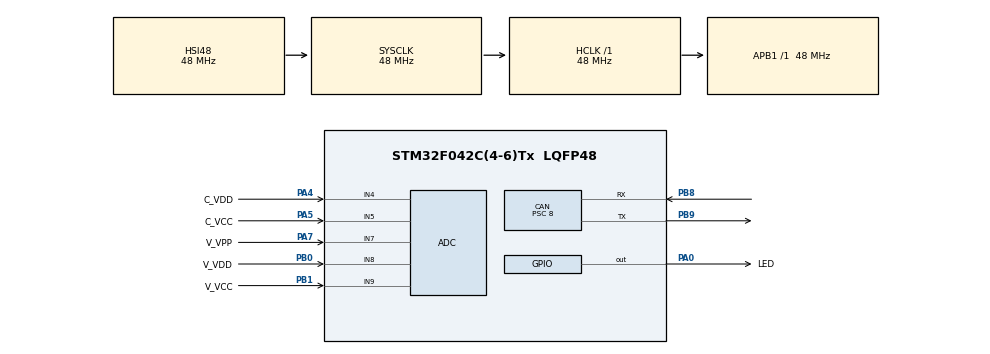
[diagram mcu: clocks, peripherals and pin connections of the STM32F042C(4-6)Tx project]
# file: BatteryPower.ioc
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ADC.ClockPrescaler=ADC_CLOCK_ASYNC_DIV1
ADC.ContinuousConvMode=ENABLE
ADC.DMAContinuousRequests=ENABLE
ADC.SamplingTime=ADC_SAMPLETIME_1CYCLE_5
CAN.BS1=CAN_BS1_4TQ
CAN.CalculateBaudRate=1000000
CAN.CalculateTimeBit=1000
CAN.CalculateTimeQuantum=166.66666666666666
CAN.Prescaler=8
Dma.ADC.0.Direction=DMA_PERIPH_TO_MEMORY
Dma.ADC.0.Instance=DMA1_Channel1
Dma.ADC.0.MemDataAlignment=DMA_MDATAALIGN_HALFWORD
Dma.ADC.0.MemInc=DMA_MINC_ENABLE
Dma.ADC.0.Mode=DMA_CIRCULAR
Dma.ADC.0.PeriphDataAlignment=DMA_PDATAALIGN_HALFWORD
Dma.ADC.0.PeriphInc=DMA_PINC_DISABLE
Dma.ADC.0.Priority=DMA_PRIORITY_LOW
Dma.Request0=ADC
IWDG.Prescaler=IWDG_PRESCALER_16
IWDG.Reload=4095
IWDG.Window=4095
Mcu.Family=STM32F0
Mcu.Name=STM32F042C(4-6)Tx
Mcu.Package=LQFP48
NVIC.CEC_CAN_IRQn=true\:1\:0\:true\:false\:true\:true\:true\:true
NVIC.DMA1_Channel1_IRQn=true\:1\:0\:true\:false\:true\:false\:true\:true
NVIC.TIM14_IRQn=true\:3\:0\:true\:false\:true\:true\:true\:true
NVIC.TIM2_IRQn=true\:3\:0\:true\:false\:true\:true\:true\:true
PA0.GPIO_Label=LED
PA0.Signal=GPIO_Output
PA4.GPIO_Label=C_VDD
PA4.Mode=IN4
PA4.Signal=ADC_IN4
PA5.GPIO_Label=C_VCC
PA5.Mode=IN5
PA5.Signal=ADC_IN5
PA7.GPIO_Label=V_VPP
PA7.Mode=IN7
PA7.Signal=ADC_IN7
PB0.GPIO_Label=V_VDD
PB0.Mode=IN8
PB0.Signal=ADC_IN8
PB1.GPIO_Label=V_VCC
PB1.Mode=IN9
PB1.Signal=ADC_IN9
PB8.Mode=CAN_Activate
PB8.Signal=CAN_RX
PB9.Mode=CAN_Activate
PB9.Signal=CAN_TX
ProjectManager.HeapSize=0x200
ProjectManager.StackSize=0x400
ProjectManager.TargetToolchain=STM32CubeIDE
RCC.AHBFreq_Value=48000000
RCC.APB1Freq_Value=48000000
RCC.APB1TimFreq_Value=48000000
RCC.HCLKFreq_Value=48000000
RCC.SYSCLKFreq_VALUE=48000000
RCC.SYSCLKSource=RCC_SYSCLKSOURCE_HSI48
TIM14.Period=1000
TIM14.Prescaler=48000-1
TIM2.Period=100
TIM2.Prescaler=48000-1
VP_IWDG_VS_IWDG.Mode=IWDG_Activate
VP_TIM14_VS_ClockSourceINT.Mode=Enable_Timer
VP_TIM2_VS_ClockSourceINT.Mode=Internal
board=custom

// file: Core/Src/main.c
/* USER CODE BEGIN Header */
/**
  ******************************************************************************
  * @file           : main.c
  * @brief          : Main program body
  ******************************************************************************
  * @attention
  *
  * <h2><center>&copy; Copyright (c) 2020 STMicroelectronics.
  * All rights reserved.</center></h2>
  *
  * This software component is licensed by ST under BSD 3-Clause license,
  * the "License"; You may not use this file except in compliance with the
  * License. You may obtain a copy of the License at:
  *                        opensource.org/licenses/BSD-3-Clause
  *
  ******************************************************************************
  */
/* USER CODE END Header */
#include "main.h"

/* USER CODE BEGIN Includes */

#include <stdlib.h>

/* USER CODE END Includes */

/* USER CODE BEGIN PD */

#define SAMPLE_FREQ 10
#define SEND_FREQ 1

#define CURRENT_FILTER_A 0.5
#define VDD_CURRENT_OFFSET 0.4
#define VCC_CURRENT_OFFSET 0.0
#define VPP_FIX (8.08 / 8.20)
#define VCC_FIX (5.02 / 4.69)
#define VDD_FIX (3.35 / 3.19)

/* USER CODE END PD */

 ADC_HandleTypeDef hadc;
DMA_HandleTypeDef hdma_adc;

CAN_HandleTypeDef hcan;

IWDG_HandleTypeDef hiwdg;

TIM_HandleTypeDef htim2;
TIM_HandleTypeDef htim14;

void SystemClock_Config(void);
static void MX_GPIO_Init(void);
static void MX_CAN_Init(void);
static void MX_DMA_Init(void);
static void MX_IWDG_Init(void);
static void MX_ADC_Init(void);
static void MX_TIM2_Init(void);
static void MX_TIM14_Init(void);

/* USER CODE BEGIN 0 */
extern void initialise_monitor_handles(void);

uint16_t adc_values[10];

float vcc_A;
float vdd_A;
float vpp_V;
float vcc_V;
float vdd_V;

void HAL_TIM_PeriodElapsedCallback(TIM_HandleTypeDef *htim)
{
    if (htim == &htim2) {
    	float voltages[5];
    	for (int i = 0; i < 5; i++) {
    		voltages[i] = (float)adc_values[i] * 3.3 / 4095;
    	}

    	float vdd_A_ = (voltages[0] - 3.3 / 2.0) / 0.110 - VDD_CURRENT_OFFSET;
    	float vcc_A_ = (voltages[1] - 3.3 / 2.0) / 0.110 - VCC_CURRENT_OFFSET;
    	vpp_V = voltages[2] * 11.0 * VPP_FIX;
    	vdd_V = voltages[3] * 2.0 * VDD_FIX;
    	vcc_V = voltages[4] * 2.0 * VCC_FIX;

    	vcc_A = vcc_A * (1 - CURRENT_FILTER_A) + vcc_A_ * CURRENT_FILTER_A;
    	vdd_A = vdd_A * (1 - CURRENT_FILTER_A) + vdd_A_ * CURRENT_FILTER_A;

    }
    else if (htim == &htim14) {
#ifdef DEBUG
		printf("Vpp: %d.%03d V\n", (int)vpp_V, abs((int)(vpp_V * 1000) % 1000));
		printf("Vcc: %d.%03d V, %d mA\n", (int)vcc_V, abs((int)(vcc_V * 1000) % 1000), (int)(vcc_A * 1000));
		printf("Vdd: %d.%03d V, %d mA\n", (int)vdd_V, abs((int)(vdd_V * 1000) % 1000), (int)(vdd_A * 1000));
#endif
		HAL_GPIO_TogglePin(LED_GPIO_Port, LED_Pin);
    }
}
/* USER CODE END 0 */

int main(void)
{
  /* USER CODE BEGIN 1 */
#ifdef DEBUG
  initialise_monitor_handles();
#endif
  /* USER CODE END 1 */

  /* MCU Configuration--------------------------------------------------------*/

  /* Reset of all peripherals, Initializes the Flash interface and the Systick. */
  HAL_Init();

  /* Configure the system clock */
  SystemClock_Config();

  /* Initialize all configured peripherals */
  MX_GPIO_Init();
  MX_CAN_Init();
  MX_DMA_Init();
  MX_IWDG_Init();
  MX_ADC_Init();
  MX_TIM2_Init();
  MX_TIM14_Init();
  /* USER CODE BEGIN 2 */

  HAL_GPIO_WritePin(LED_GPIO_Port, LED_Pin, GPIO_PIN_RESET);

  HAL_ADCEx_Calibration_Start(&hadc);
  HAL_ADC_Start_DMA(&hadc, (uint32_t*)adc_values, 10);

  HAL_TIM_Base_Start_IT(&htim2);
  HAL_TIM_Base_Start_IT(&htim14);

  HAL_Delay(200);

  HAL_GPIO_WritePin(LED_GPIO_Port, LED_Pin, GPIO_PIN_SET);

  /* USER CODE END 2 */

  /* Infinite loop */
  while (1)
  {

    /* USER CODE BEGIN 3 */

	  HAL_Delay(1000);

#ifndef DEBUG
	  HAL_IWDG_Refresh(&hiwdg);
#endif
  }
  /* USER CODE END 3 */
}

void SystemClock_Config(void)
{
  RCC_OscInitTypeDef RCC_OscInitStruct = {0};
  RCC_ClkInitTypeDef RCC_ClkInitStruct = {0};

  /** Initializes the RCC Oscillators according to the specified parameters
  * in the RCC_OscInitTypeDef structure.
  */
  RCC_OscInitStruct.OscillatorType = RCC_OSCILLATORTYPE_HSI14|RCC_OSCILLATORTYPE_HSI48
                              |RCC_OSCILLATORTYPE_LSI;
  RCC_OscInitStruct.HSI48State = RCC_HSI48_ON;
  RCC_OscInitStruct.HSI14State = RCC_HSI14_ON;
  RCC_OscInitStruct.HSI14CalibrationValue = 16;
  RCC_OscInitStruct.LSIState = RCC_LSI_ON;
  RCC_OscInitStruct.PLL.PLLState = RCC_PLL_NONE;
  if (HAL_RCC_OscConfig(&RCC_OscInitStruct) != HAL_OK)
  {
    Error_Handler();
  }

  /** Initializes the CPU, AHB and APB buses clocks
  */
  RCC_ClkInitStruct.ClockType = RCC_CLOCKTYPE_HCLK|RCC_CLOCKTYPE_SYSCLK
                              |RCC_CLOCKTYPE_PCLK1;
  RCC_ClkInitStruct.SYSCLKSource = RCC_SYSCLKSOURCE_HSI48;
  RCC_ClkInitStruct.AHBCLKDivider = RCC_SYSCLK_DIV1;
  RCC_ClkInitStruct.APB1CLKDivider = RCC_HCLK_DIV1;

  if (HAL_RCC_ClockConfig(&RCC_ClkInitStruct, FLASH_LATENCY_1) != HAL_OK)
  {
    Error_Handler();
  }
}

static void MX_ADC_Init(void)
{

  ADC_ChannelConfTypeDef sConfig = {0};

  /** Configure the global features of the ADC (Clock, Resolution, Data Alignment and number of conversion)
  */
  hadc.Instance = ADC1;
  hadc.Init.ClockPrescaler = ADC_CLOCK_ASYNC_DIV1;
  hadc.Init.Resolution = ADC_RESOLUTION_12B;
  hadc.Init.DataAlign = ADC_DATAALIGN_RIGHT;
  hadc.Init.ScanConvMode = ADC_SCAN_DIRECTION_FORWARD;
  hadc.Init.EOCSelection = ADC_EOC_SINGLE_CONV;
  hadc.Init.LowPowerAutoWait = DISABLE;
  hadc.Init.LowPowerAutoPowerOff = DISABLE;
  hadc.Init.ContinuousConvMode = ENABLE;
  hadc.Init.DiscontinuousConvMode = DISABLE;
  hadc.Init.ExternalTrigConv = ADC_SOFTWARE_START;
  hadc.Init.ExternalTrigConvEdge = ADC_EXTERNALTRIGCONVEDGE_NONE;
  hadc.Init.DMAContinuousRequests = ENABLE;
  hadc.Init.Overrun = ADC_OVR_DATA_PRESERVED;
  if (HAL_ADC_Init(&hadc) != HAL_OK)
  {
    Error_Handler();
  }

  /** Configure for the selected ADC regular channel to be converted.
  */
  sConfig.Channel = ADC_CHANNEL_4;
  sConfig.Rank = ADC_RANK_CHANNEL_NUMBER;
  sConfig.SamplingTime = ADC_SAMPLETIME_1CYCLE_5;
  if (HAL_ADC_ConfigChannel(&hadc, &sConfig) != HAL_OK)
  {
    Error_Handler();
  }

  /** Configure for the selected ADC regular channel to be converted.
  */
  sConfig.Channel = ADC_CHANNEL_5;
  if (HAL_ADC_ConfigChannel(&hadc, &sConfig) != HAL_OK)
  {
    Error_Handler();
  }

  /** Configure for the selected ADC regular channel to be converted.
  */
  sConfig.Channel = ADC_CHANNEL_7;
  if (HAL_ADC_ConfigChannel(&hadc, &sConfig) != HAL_OK)
  {
    Error_Handler();
  }

  /** Configure for the selected ADC regular channel to be converted.
  */
  sConfig.Channel = ADC_CHANNEL_8;
  if (HAL_ADC_ConfigChannel(&hadc, &sConfig) != HAL_OK)
  {
    Error_Handler();
  }

  /** Configure for the selected ADC regular channel to be converted.
  */
  sConfig.Channel = ADC_CHANNEL_9;
  if (HAL_ADC_ConfigChannel(&hadc, &sConfig) != HAL_OK)
  {
    Error_Handler();
  }

}

static void MX_CAN_Init(void)
{

  hcan.Instance = CAN;
  hcan.Init.Prescaler = 8;
  hcan.Init.Mode = CAN_MODE_NORMAL;
  hcan.Init.SyncJumpWidth = CAN_SJW_1TQ;
  hcan.Init.TimeSeg1 = CAN_BS1_4TQ;
  hcan.Init.TimeSeg2 = CAN_BS2_1TQ;
  hcan.Init.TimeTriggeredMode = DISABLE;
  hcan.Init.AutoBusOff = DISABLE;
  hcan.Init.AutoWakeUp = DISABLE;
  hcan.Init.AutoRetransmission = DISABLE;
  hcan.Init.ReceiveFifoLocked = DISABLE;
  hcan.Init.TransmitFifoPriority = DISABLE;
  if (HAL_CAN_Init(&hcan) != HAL_OK)
  {
    Error_Handler();
  }

}

static void MX_IWDG_Init(void)
{

  /* USER CODE BEGIN IWDG_Init 0 */

#ifdef DEBUG
  return;
#endif

  /* USER CODE END IWDG_Init 0 */

  hiwdg.Instance = IWDG;
  hiwdg.Init.Prescaler = IWDG_PRESCALER_16;
  hiwdg.Init.Window = 4095;
  hiwdg.Init.Reload = 4095;
  if (HAL_IWDG_Init(&hiwdg) != HAL_OK)
  {
    Error_Handler();
  }

}

static void MX_TIM2_Init(void)
{

  TIM_ClockConfigTypeDef sClockSourceConfig = {0};
  TIM_MasterConfigTypeDef sMasterConfig = {0};

  htim2.Instance = TIM2;
  htim2.Init.Prescaler = 48000-1;
  htim2.Init.CounterMode = TIM_COUNTERMODE_UP;
  htim2.Init.Period = 100;
  htim2.Init.ClockDivision = TIM_CLOCKDIVISION_DIV1;
  htim2.Init.AutoReloadPreload = TIM_AUTORELOAD_PRELOAD_DISABLE;
  if (HAL_TIM_Base_Init(&htim2) != HAL_OK)
  {
    Error_Handler();
  }
  sClockSourceConfig.ClockSource = TIM_CLOCKSOURCE_INTERNAL;
  if (HAL_TIM_ConfigClockSource(&htim2, &sClockSourceConfig) != HAL_OK)
  {
    Error_Handler();
  }
  sMasterConfig.MasterOutputTrigger = TIM_TRGO_RESET;
  sMasterConfig.MasterSlaveMode = TIM_MASTERSLAVEMODE_DISABLE;
  if (HAL_TIMEx_MasterConfigSynchronization(&htim2, &sMasterConfig) != HAL_OK)
  {
    Error_Handler();
  }

}

static void MX_TIM14_Init(void)
{

  htim14.Instance = TIM14;
  htim14.Init.Prescaler = 48000-1;
  htim14.Init.CounterMode = TIM_COUNTERMODE_UP;
  htim14.Init.Period = 1000;
  htim14.Init.ClockDivision = TIM_CLOCKDIVISION_DIV1;
  htim14.Init.AutoReloadPreload = TIM_AUTORELOAD_PRELOAD_DISABLE;
  if (HAL_TIM_Base_Init(&htim14) != HAL_OK)
  {
    Error_Handler();
  }

}

static void MX_DMA_Init(void)
{

  /* DMA controller clock enable */
  __HAL_RCC_DMA1_CLK_ENABLE();

  /* DMA interrupt init */
  /* DMA1_Channel1_IRQn interrupt configuration */
  HAL_NVIC_SetPriority(DMA1_Channel1_IRQn, 0, 0);
  HAL_NVIC_EnableIRQ(DMA1_Channel1_IRQn);

}

static void MX_GPIO_Init(void)
{
  GPIO_InitTypeDef GPIO_InitStruct = {0};

  /* GPIO Ports Clock Enable */
  __HAL_RCC_GPIOA_CLK_ENABLE();
  __HAL_RCC_GPIOB_CLK_ENABLE();

  /*Configure GPIO pin Output Level */
  HAL_GPIO_WritePin(LED_GPIO_Port, LED_Pin, GPIO_PIN_RESET);

  /*Configure GPIO pin : LED_Pin */
  GPIO_InitStruct.Pin = LED_Pin;
  GPIO_InitStruct.Mode = GPIO_MODE_OUTPUT_PP;
  GPIO_InitStruct.Pull = GPIO_NOPULL;
  GPIO_InitStruct.Speed = GPIO_SPEED_FREQ_LOW;
  HAL_GPIO_Init(LED_GPIO_Port, &GPIO_InitStruct);

}

void Error_Handler(void)
{
}
